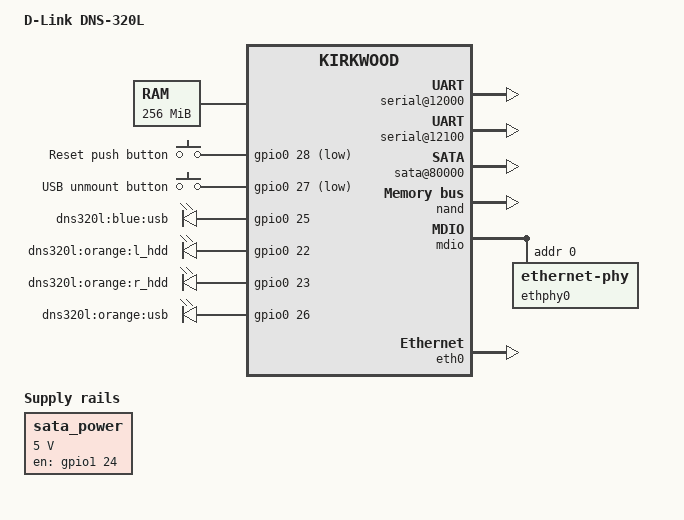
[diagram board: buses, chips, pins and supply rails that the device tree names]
/dts-v1/;

#include "kirkwood.dtsi"
#include "kirkwood-6281.dtsi"

/ {
	model = "D-Link DNS-320L";
	compatible = "dlink,dns-320l", "marvell,kirkwood-88f6702", "marvell,kirkwood";

	memory {
		device_type = "memory";
		reg = <0x00000000 0x10000000>;
	};

	chosen {
		bootargs = "console=ttyS0,115200 earlyprintk rw root=/dev/sda1";
	};

	ocp@f1000000 {
		serial@12000 {
			status = "okay";
		};

		serial@12100 {
			pinctrl-0 = <&pmx_uart1>;
			pinctrl-names = "default";
			status = "okay";
		};

		pinctrl: pin-controller@10000 {

			pinctrl-0 = <&pmx_button_power>;
			pinctrl-names = "default";

			pmx_sata0: pmx-sata0 {
				marvell,pins = "mpp20";
				marvell,function = "sata1";
			};
			pmx_sata1: pmx-sata1 {
				marvell,pins = "mpp21";
				marvell,function = "sata0";
			};
			pmx_led_red_right_hdd: pmx-led-red-right-hdd {
				marvell,pins = "mpp22";
				marvell,function = "gpio";
			};
			pmx_led_red_left_hdd: pmx-led-red-left-hdd {
				marvell,pins = "mpp23";
				marvell,function = "gpio";
			};
			pmx_power_sata: pmx-power-sata {
				marvell,pins = "mpp24";
				marvell,function = "gpio";
			};
			pmx_led_usb_blue: pmx-led-usb-blue {
				marvell,pins = "mpp25";
				marvell,function = "gpio";
			};
			pmx_led_usb_orange: pmx-led-usb-orange {
				marvell,pins = "mpp26";
				marvell,function = "gpio";
			};
			pmx_button_usb_copy: pmx-button-usb-copy {
				marvell,pins = "mpp27";
				marvell,function = "gpio";
			};
			pmx_button_reset: pmx-button-reset {
				marvell,pins = "mpp28";
				marvell,function = "gpio";
			};
			pmx_button_power: pmx-button-power { // I can't get this one to trigger a button press...
				marvell,pins = "mpp29";
				marvell,function = "gpio";
			};
		};
		sata@80000 {
			status = "okay";
			nr-ports = <2>;
		};
	};

	gpio_keys {
		compatible = "gpio-keys";
		pinctrl-0 = <&pmx_button_reset &pmx_button_usb_copy>;
		pinctrl-names = "default";
		#address-cells = <2>;
		#size-cells = <0>;

		button@1 {
			label = "Reset push button";
			linux,code = <KEY_RESTART>;
			gpios = <&gpio0 28 GPIO_ACTIVE_LOW>;
		};
		button@2 {
			label = "USB unmount button";
			linux,code = <KEY_EJECTCD>;
			gpios = <&gpio0 27 GPIO_ACTIVE_LOW>;
		};
	};

	gpio-leds {
		compatible = "gpio-leds";
		pinctrl-0 = <&pmx_led_usb_blue &pmx_led_usb_orange
				&pmx_led_red_left_hdd &pmx_led_red_right_hdd>;
		pinctrl-names = "default";

		blue-usb {
			label = "dns320l:blue:usb";
			gpios = <&gpio0 25 GPIO_ACTIVE_HIGH>;
		};
		orange-l_hdd {
			label = "dns320l:orange:l_hdd";
			gpios = <&gpio0 22 GPIO_ACTIVE_HIGH>;
		};
		orange-r_hdd {
			label = "dns320l:orange:r_hdd";
			gpios = <&gpio0 23 GPIO_ACTIVE_HIGH>;
		};
		orange-usb {
			label = "dns320l:orange:usb";
			gpios = <&gpio0 26 GPIO_ACTIVE_HIGH>;
		};
	};

	regulators {
		compatible = "simple-bus";
		#address-cells = <1>;
		#size-cells = <0>;
		pinctrl-0 = <&pmx_power_sata>;
		pinctrl-names = "default";

		sata_power: regulator@1 {
			compatible = "regulator-fixed";
			reg = <1>;
			regulator-name = "SATA Power";
			regulator-min-microvolt = <5000000>;
			regulator-max-microvolt = <5000000>;
			enable-active-high;
			regulator-always-on;
			regulator-boot-on;
			gpio = <&gpio1 24 GPIO_ACTIVE_HIGH>;
		};
	};
};

&nand {
	status = "okay";
	chip-delay = <40>;

	partition@0 {
		label = "u-boot";
		reg = <0x0000000 0x100000>;
		read-only;
	};

	partition@100000 {
		label = "uImage";
		reg = <0x0100000 0x500000>;
	};

	partition@600000 {
		label = "ramdisk";
		reg = <0x0600000 0x500000>;
	};

	partition@b00000 {
		label = "image";
		reg = <0x0b00000 0x6400000>;
	};

	partition@6f00000 {
		label = "mini firmware";
		reg = <0x6f00000 0xa00000>;
	};

	partition@7900000 {
		label = "config";
		reg = <0x7900000 0x500000>;
	};
	partition@7e00000 {
		label = "my-dlink";
		reg = <0x7e00000 0x200000>;
	};
};

&mdio {
	status = "okay";

	ethphy0: ethernet-phy@0 {
		reg = <0>;
	};
};

&eth0 {
	status = "okay";
	ethernet0-port@0 {
		phy-handle = <&ethphy0>;
	};
};
